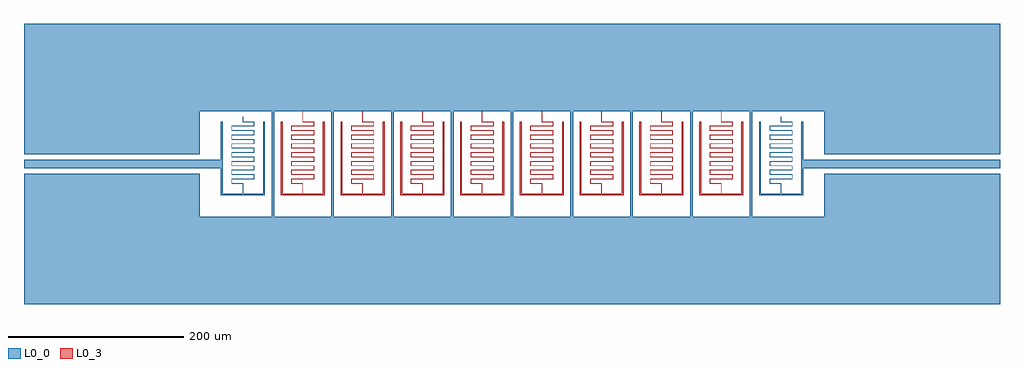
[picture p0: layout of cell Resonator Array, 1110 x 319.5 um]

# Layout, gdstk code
import gdstk
lib = gdstk.Library(unit=1e-6, precision=1e-09)
def P(c, l, *ps):  # polygons
    for p in ps: c.add(gdstk.Polygon(p, *l))
L0_0 = (0, 0)
L0_3 = (0, 3)

resonator_array = lib.new_cell('Resonator Array')
P(resonator_array, L0_0, [(793,24.75),(593,24.75),(593,-24),(511.5,-24),(511.5,95.5),(593,95.5),(593,46.75),(793,46.75),(793,195.5),(-317,195.5),(-317,46.75),(-117,46.75),(-117,95.5),(-35.5,95.5),(-35.5,-24),(-32.5,-24),(-32.5,95.5),(32.5,95.5),(32.5,-24),(35.5,-24),(35.5,95.5),(100.5,95.5),(100.5,-24),(103.5,-24),(103.5,95.5),(168.5,95.5),(168.5,-24),(171.5,-24),(171.5,95.5),(236.5,95.5),(236.5,-24),(239.5,-24),(239.5,95.5),(304.5,95.5),(304.5,-24),(307.5,-24),(307.5,95.5),(372.5,95.5),(372.5,-24),(375.5,-24),(375.5,95.5),(440.5,95.5),(440.5,-24),(443.5,-24),(443.5,95.5),(508.5,95.5),(508.5,-24),(443.5,-24),(440.5,-24),(375.5,-24),(372.5,-24),(307.5,-24),(304.5,-24),(239.5,-24),(236.5,-24),(171.5,-24),(168.5,-24),(103.5,-24),(100.5,-24),(35.5,-24),(32.5,-24),(-32.5,-24),(-35.5,-24),(-117,-24),(-117,24.75),(-317,24.75),(-317,-124),(793,-124)],
  [(-43,84),(-45,84),(-45,2),(-67.75,2),(-67.75,14),(-80.5,14),(-80.5,18.5),(-55,18.5),(-55,24),(-80.5,24),(-80.5,28.5),(-55,28.5),(-55,34),(-80.5,34),(-80.5,38.5),(-55,38.5),(-55,44),(-80.5,44),(-80.5,48.5),(-55,48.5),(-55,54),(-80.5,54),(-80.5,58.5),(-55,58.5),(-55,64),(-80.5,64),(-80.5,68.5),(-55,68.5),(-55,74),(-80.5,74),(-80.5,78.5),(-55,78.5),(-55,84),(-67.75,84),(-67.75,89.625),(-68.25,89.625),(-68.25,83.5),(-55.5,83.5),(-55.5,79),(-81,79),(-81,73.5),(-55.5,73.5),(-55.5,69),(-81,69),(-81,63.5),(-55.5,63.5),(-55.5,59),(-81,59),(-81,53.5),(-55.5,53.5),(-55.5,49),(-81,49),(-81,43.5),(-55.5,43.5),(-55.5,39),(-81,39),(-81,33.5),(-55.5,33.5),(-55.5,29),(-81,29),(-81,23.5),(-55.5,23.5),(-55.5,19),(-81,19),(-81,13.5),(-68.25,13.5),(-68.25,2),(-91,2),(-91,84),(-93,84),(-93,40.75),(-317,40.75),(-317,30.75),(-93,30.75),(-93,0),(-43,0)],
  [(569,30.75),(793,30.75),(793,40.75),(569,40.75),(569,84),(567,84),(567,2),(544.25,2),(544.25,14),(531.5,14),(531.5,18.5),(557,18.5),(557,24),(531.5,24),(531.5,28.5),(557,28.5),(557,34),(531.5,34),(531.5,38.5),(557,38.5),(557,44),(531.5,44),(531.5,48.5),(557,48.5),(557,54),(531.5,54),(531.5,58.5),(557,58.5),(557,64),(531.5,64),(531.5,68.5),(557,68.5),(557,74),(531.5,74),(531.5,78.5),(557,78.5),(557,84),(544.25,84),(544.25,89.625),(543.75,89.625),(543.75,83.5),(556.5,83.5),(556.5,79),(531,79),(531,73.5),(556.5,73.5),(556.5,69),(531,69),(531,63.5),(556.5,63.5),(556.5,59),(531,59),(531,53.5),(556.5,53.5),(556.5,49),(531,49),(531,43.5),(556.5,43.5),(556.5,39),(531,39),(531,33.5),(556.5,33.5),(556.5,29),(531,29),(531,23.5),(556.5,23.5),(556.5,19),(531,19),(531,13.5),(543.75,13.5),(543.75,2),(521,2),(521,84),(519,84),(519,0),(569,0)])
P(resonator_array, L0_3, [(-23,84),(-25,84),(-25,0),(25,0),(25,84),(23,84),(23,2),(-23,2)],
  [(-0.25,2),(0.25,2),(0.25,14),(0.25,14),(-12.5,14),(-12.5,18.5),(0,18.5),(13,18.5),(13,24),(0,24),(-12.5,24),(-12.5,28.5),(0,28.5),(13,28.5),(13,34),(0,34),(-12.5,34),(-12.5,38.5),(0,38.5),(13,38.5),(13,44),(0,44),(-12.5,44),(-12.5,48.5),(0,48.5),(13,48.5),(13,54),(0,54),(-12.5,54),(-12.5,58.5),(0,58.5),(13,58.5),(13,64),(0,64),(-12.5,64),(-12.5,68.5),(0,68.5),(13,68.5),(13,74),(0,74),(-12.5,74),(-12.5,78.5),(0,78.5),(13,78.5),(13,84),(0.25,84),(0.25,95.5),(-0.25,95.5),(-0.25,83.5),(-0.25,83.5),(12.5,83.5),(12.5,79),(0,79),(-13,79),(-13,73.5),(0,73.5),(12.5,73.5),(12.5,69),(0,69),(-13,69),(-13,63.5),(0,63.5),(12.5,63.5),(12.5,59),(0,59),(-13,59),(-13,53.5),(0,53.5),(12.5,53.5),(12.5,49),(0,49),(-13,49),(-13,43.5),(0,43.5),(12.5,43.5),(12.5,39),(0,39),(-13,39),(-13,33.5),(0,33.5),(12.5,33.5),(12.5,29),(0,29),(-13,29),(-13,23.5),(0,23.5),(12.5,23.5),(12.5,19),(0,19),(-13,19),(-13,13.5),(-0.25,13.5)],
  [(45,84),(43,84),(43,0),(93,0),(93,84),(91,84),(91,2),(45,2)],
  [(67.75,2),(68.25,2),(68.25,14),(68.25,14),(55.5,14),(55.5,18.5),(68,18.5),(81,18.5),(81,24),(68,24),(55.5,24),(55.5,28.5),(68,28.5),(81,28.5),(81,34),(68,34),(55.5,34),(55.5,38.5),(68,38.5),(81,38.5),(81,44),(68,44),(55.5,44),(55.5,48.5),(68,48.5),(81,48.5),(81,54),(68,54),(55.5,54),(55.5,58.5),(68,58.5),(81,58.5),(81,64),(68,64),(55.5,64),(55.5,68.5),(68,68.5),(81,68.5),(81,74),(68,74),(55.5,74),(55.5,78.5),(68,78.5),(81,78.5),(81,84),(68.25,84),(68.25,95.5),(67.75,95.5),(67.75,83.5),(67.75,83.5),(80.5,83.5),(80.5,79),(68,79),(55,79),(55,73.5),(68,73.5),(80.5,73.5),(80.5,69),(68,69),(55,69),(55,63.5),(68,63.5),(80.5,63.5),(80.5,59),(68,59),(55,59),(55,53.5),(68,53.5),(80.5,53.5),(80.5,49),(68,49),(55,49),(55,43.5),(68,43.5),(80.5,43.5),(80.5,39),(68,39),(55,39),(55,33.5),(68,33.5),(80.5,33.5),(80.5,29),(68,29),(55,29),(55,23.5),(68,23.5),(80.5,23.5),(80.5,19),(68,19),(55,19),(55,13.5),(67.75,13.5)],
  [(113,84),(111,84),(111,0),(161,0),(161,84),(159,84),(159,2),(113,2)],
  [(135.75,2),(136.25,2),(136.25,14),(136.25,14),(123.5,14),(123.5,18.5),(136,18.5),(149,18.5),(149,24),(136,24),(123.5,24),(123.5,28.5),(136,28.5),(149,28.5),(149,34),(136,34),(123.5,34),(123.5,38.5),(136,38.5),(149,38.5),(149,44),(136,44),(123.5,44),(123.5,48.5),(136,48.5),(149,48.5),(149,54),(136,54),(123.5,54),(123.5,58.5),(136,58.5),(149,58.5),(149,64),(136,64),(123.5,64),(123.5,68.5),(136,68.5),(149,68.5),(149,74),(136,74),(123.5,74),(123.5,78.5),(136,78.5),(149,78.5),(149,84),(136.25,84),(136.25,95.5),(135.75,95.5),(135.75,83.5),(135.75,83.5),(148.5,83.5),(148.5,79),(136,79),(123,79),(123,73.5),(136,73.5),(148.5,73.5),(148.5,69),(136,69),(123,69),(123,63.5),(136,63.5),(148.5,63.5),(148.5,59),(136,59),(123,59),(123,53.5),(136,53.5),(148.5,53.5),(148.5,49),(136,49),(123,49),(123,43.5),(136,43.5),(148.5,43.5),(148.5,39),(136,39),(123,39),(123,33.5),(136,33.5),(148.5,33.5),(148.5,29),(136,29),(123,29),(123,23.5),(136,23.5),(148.5,23.5),(148.5,19),(136,19),(123,19),(123,13.5),(135.75,13.5)],
  [(181,84),(179,84),(179,0),(229,0),(229,84),(227,84),(227,2),(181,2)],
  [(203.75,2),(204.25,2),(204.25,14),(204.25,14),(191.5,14),(191.5,18.5),(204,18.5),(217,18.5),(217,24),(204,24),(191.5,24),(191.5,28.5),(204,28.5),(217,28.5),(217,34),(204,34),(191.5,34),(191.5,38.5),(204,38.5),(217,38.5),(217,44),(204,44),(191.5,44),(191.5,48.5),(204,48.5),(217,48.5),(217,54),(204,54),(191.5,54),(191.5,58.5),(204,58.5),(217,58.5),(217,64),(204,64),(191.5,64),(191.5,68.5),(204,68.5),(217,68.5),(217,74),(204,74),(191.5,74),(191.5,78.5),(204,78.5),(217,78.5),(217,84),(204.25,84),(204.25,95.5),(203.75,95.5),(203.75,83.5),(203.75,83.5),(216.5,83.5),(216.5,79),(204,79),(191,79),(191,73.5),(204,73.5),(216.5,73.5),(216.5,69),(204,69),(191,69),(191,63.5),(204,63.5),(216.5,63.5),(216.5,59),(204,59),(191,59),(191,53.5),(204,53.5),(216.5,53.5),(216.5,49),(204,49),(191,49),(191,43.5),(204,43.5),(216.5,43.5),(216.5,39),(204,39),(191,39),(191,33.5),(204,33.5),(216.5,33.5),(216.5,29),(204,29),(191,29),(191,23.5),(204,23.5),(216.5,23.5),(216.5,19),(204,19),(191,19),(191,13.5),(203.75,13.5)],
  [(249,84),(247,84),(247,0),(297,0),(297,84),(295,84),(295,2),(249,2)],
  [(271.75,2),(272.25,2),(272.25,14),(272.25,14),(259.5,14),(259.5,18.5),(272,18.5),(285,18.5),(285,24),(272,24),(259.5,24),(259.5,28.5),(272,28.5),(285,28.5),(285,34),(272,34),(259.5,34),(259.5,38.5),(272,38.5),(285,38.5),(285,44),(272,44),(259.5,44),(259.5,48.5),(272,48.5),(285,48.5),(285,54),(272,54),(259.5,54),(259.5,58.5),(272,58.5),(285,58.5),(285,64),(272,64),(259.5,64),(259.5,68.5),(272,68.5),(285,68.5),(285,74),(272,74),(259.5,74),(259.5,78.5),(272,78.5),(285,78.5),(285,84),(272.25,84),(272.25,95.5),(271.75,95.5),(271.75,83.5),(271.75,83.5),(284.5,83.5),(284.5,79),(272,79),(259,79),(259,73.5),(272,73.5),(284.5,73.5),(284.5,69),(272,69),(259,69),(259,63.5),(272,63.5),(284.5,63.5),(284.5,59),(272,59),(259,59),(259,53.5),(272,53.5),(284.5,53.5),(284.5,49),(272,49),(259,49),(259,43.5),(272,43.5),(284.5,43.5),(284.5,39),(272,39),(259,39),(259,33.5),(272,33.5),(284.5,33.5),(284.5,29),(272,29),(259,29),(259,23.5),(272,23.5),(284.5,23.5),(284.5,19),(272,19),(259,19),(259,13.5),(271.75,13.5)],
  [(317,84),(315,84),(315,0),(365,0),(365,84),(363,84),(363,2),(317,2)],
  [(339.75,2),(340.25,2),(340.25,14),(340.25,14),(327.5,14),(327.5,18.5),(340,18.5),(353,18.5),(353,24),(340,24),(327.5,24),(327.5,28.5),(340,28.5),(353,28.5),(353,34),(340,34),(327.5,34),(327.5,38.5),(340,38.5),(353,38.5),(353,44),(340,44),(327.5,44),(327.5,48.5),(340,48.5),(353,48.5),(353,54),(340,54),(327.5,54),(327.5,58.5),(340,58.5),(353,58.5),(353,64),(340,64),(327.5,64),(327.5,68.5),(340,68.5),(353,68.5),(353,74),(340,74),(327.5,74),(327.5,78.5),(340,78.5),(353,78.5),(353,84),(340.25,84),(340.25,95.5),(339.75,95.5),(339.75,83.5),(339.75,83.5),(352.5,83.5),(352.5,79),(340,79),(327,79),(327,73.5),(340,73.5),(352.5,73.5),(352.5,69),(340,69),(327,69),(327,63.5),(340,63.5),(352.5,63.5),(352.5,59),(340,59),(327,59),(327,53.5),(340,53.5),(352.5,53.5),(352.5,49),(340,49),(327,49),(327,43.5),(340,43.5),(352.5,43.5),(352.5,39),(340,39),(327,39),(327,33.5),(340,33.5),(352.5,33.5),(352.5,29),(340,29),(327,29),(327,23.5),(340,23.5),(352.5,23.5),(352.5,19),(340,19),(327,19),(327,13.5),(339.75,13.5)],
  [(385,84),(383,84),(383,0),(433,0),(433,84),(431,84),(431,2),(385,2)],
  [(407.75,2),(408.25,2),(408.25,14),(408.25,14),(395.5,14),(395.5,18.5),(408,18.5),(421,18.5),(421,24),(408,24),(395.5,24),(395.5,28.5),(408,28.5),(421,28.5),(421,34),(408,34),(395.5,34),(395.5,38.5),(408,38.5),(421,38.5),(421,44),(408,44),(395.5,44),(395.5,48.5),(408,48.5),(421,48.5),(421,54),(408,54),(395.5,54),(395.5,58.5),(408,58.5),(421,58.5),(421,64),(408,64),(395.5,64),(395.5,68.5),(408,68.5),(421,68.5),(421,74),(408,74),(395.5,74),(395.5,78.5),(408,78.5),(421,78.5),(421,84),(408.25,84),(408.25,95.5),(407.75,95.5),(407.75,83.5),(407.75,83.5),(420.5,83.5),(420.5,79),(408,79),(395,79),(395,73.5),(408,73.5),(420.5,73.5),(420.5,69),(408,69),(395,69),(395,63.5),(408,63.5),(420.5,63.5),(420.5,59),(408,59),(395,59),(395,53.5),(408,53.5),(420.5,53.5),(420.5,49),(408,49),(395,49),(395,43.5),(408,43.5),(420.5,43.5),(420.5,39),(408,39),(395,39),(395,33.5),(408,33.5),(420.5,33.5),(420.5,29),(408,29),(395,29),(395,23.5),(408,23.5),(420.5,23.5),(420.5,19),(408,19),(395,19),(395,13.5),(407.75,13.5)],
  [(453,84),(451,84),(451,0),(501,0),(501,84),(499,84),(499,2),(453,2)],
  [(475.75,2),(476.25,2),(476.25,14),(476.25,14),(463.5,14),(463.5,18.5),(476,18.5),(489,18.5),(489,24),(476,24),(463.5,24),(463.5,28.5),(476,28.5),(489,28.5),(489,34),(476,34),(463.5,34),(463.5,38.5),(476,38.5),(489,38.5),(489,44),(476,44),(463.5,44),(463.5,48.5),(476,48.5),(489,48.5),(489,54),(476,54),(463.5,54),(463.5,58.5),(476,58.5),(489,58.5),(489,64),(476,64),(463.5,64),(463.5,68.5),(476,68.5),(489,68.5),(489,74),(476,74),(463.5,74),(463.5,78.5),(476,78.5),(489,78.5),(489,84),(476.25,84),(476.25,95.5),(475.75,95.5),(475.75,83.5),(475.75,83.5),(488.5,83.5),(488.5,79),(476,79),(463,79),(463,73.5),(476,73.5),(488.5,73.5),(488.5,69),(476,69),(463,69),(463,63.5),(476,63.5),(488.5,63.5),(488.5,59),(476,59),(463,59),(463,53.5),(476,53.5),(488.5,53.5),(488.5,49),(476,49),(463,49),(463,43.5),(476,43.5),(488.5,43.5),(488.5,39),(476,39),(463,39),(463,33.5),(476,33.5),(488.5,33.5),(488.5,29),(476,29),(463,29),(463,23.5),(476,23.5),(488.5,23.5),(488.5,19),(476,19),(463,19),(463,13.5),(475.75,13.5)])

lib.write_gds('Resonator_Array.gds')
